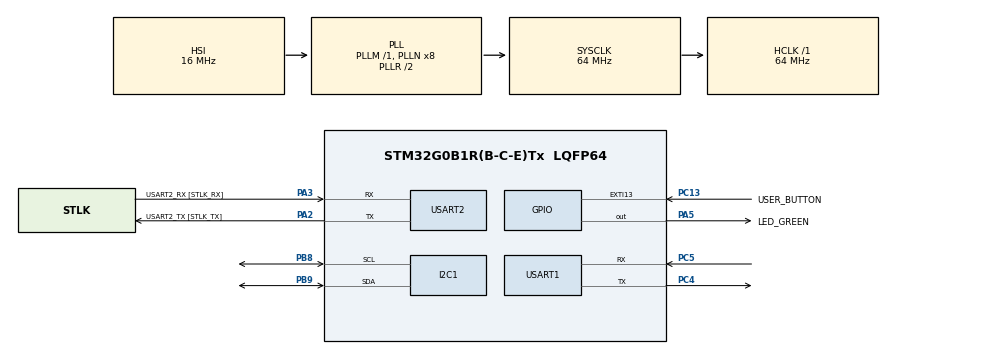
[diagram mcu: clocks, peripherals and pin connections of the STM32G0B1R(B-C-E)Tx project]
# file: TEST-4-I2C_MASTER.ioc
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Dma.Request0=USART1_RX
Dma.Request1=USART2_RX
Dma.USART1_RX.0.Direction=DMA_PERIPH_TO_MEMORY
Dma.USART1_RX.0.EventEnable=DISABLE
Dma.USART1_RX.0.Instance=DMA1_Channel1
Dma.USART1_RX.0.MemDataAlignment=DMA_MDATAALIGN_BYTE
Dma.USART1_RX.0.MemInc=DMA_MINC_ENABLE
Dma.USART1_RX.0.Mode=DMA_CIRCULAR
Dma.USART1_RX.0.PeriphDataAlignment=DMA_PDATAALIGN_BYTE
Dma.USART1_RX.0.PeriphInc=DMA_PINC_DISABLE
Dma.USART1_RX.0.Polarity=HAL_DMAMUX_REQ_GEN_RISING
Dma.USART1_RX.0.Priority=DMA_PRIORITY_LOW
Dma.USART1_RX.0.RequestNumber=1
Dma.USART1_RX.0.SignalID=NONE
Dma.USART1_RX.0.SyncEnable=DISABLE
Dma.USART1_RX.0.SyncPolarity=HAL_DMAMUX_SYNC_NO_EVENT
Dma.USART1_RX.0.SyncRequestNumber=1
Dma.USART1_RX.0.SyncSignalID=NONE
Dma.USART2_RX.1.Direction=DMA_PERIPH_TO_MEMORY
Dma.USART2_RX.1.EventEnable=DISABLE
Dma.USART2_RX.1.Instance=DMA1_Channel2
Dma.USART2_RX.1.MemDataAlignment=DMA_MDATAALIGN_BYTE
Dma.USART2_RX.1.MemInc=DMA_MINC_ENABLE
Dma.USART2_RX.1.Mode=DMA_CIRCULAR
Dma.USART2_RX.1.PeriphDataAlignment=DMA_PDATAALIGN_BYTE
Dma.USART2_RX.1.PeriphInc=DMA_PINC_DISABLE
Dma.USART2_RX.1.Polarity=HAL_DMAMUX_REQ_GEN_RISING
Dma.USART2_RX.1.Priority=DMA_PRIORITY_LOW
Dma.USART2_RX.1.RequestNumber=1
Dma.USART2_RX.1.SignalID=NONE
Dma.USART2_RX.1.SyncEnable=DISABLE
Dma.USART2_RX.1.SyncPolarity=HAL_DMAMUX_SYNC_NO_EVENT
Dma.USART2_RX.1.SyncRequestNumber=1
Dma.USART2_RX.1.SyncSignalID=NONE
I2C1.Timing=0x10B17DB5
Mcu.Family=STM32G0
Mcu.Name=STM32G0B1R(B-C-E)Tx
Mcu.Package=LQFP64
NVIC.DMA1_Channel1_IRQn=true\:0\:0\:false\:false\:true\:false\:true\:true
NVIC.DMA1_Channel2_3_IRQn=true\:0\:0\:false\:false\:true\:false\:true\:true
NVIC.USART1_IRQn=true\:0\:0\:false\:false\:true\:true\:true\:true
NVIC.USART2_LPUART2_IRQn=true\:0\:0\:false\:false\:true\:true\:true\:true
PA13.GPIO_Label=TMS
PA13.Mode=Serial_Wire
PA13.Signal=SYS_SWDIO
PA14-BOOT0.GPIO_Label=TCK
PA14-BOOT0.Mode=Serial_Wire
PA14-BOOT0.Signal=SYS_SWCLK
PA2.GPIO_Label=USART2_TX [STLK_TX]
PA2.Mode=Asynchronous
PA2.Signal=USART2_TX
PA3.GPIO_Label=USART2_RX [STLK_RX]
PA3.Mode=Asynchronous
PA3.Signal=USART2_RX
PA5.GPIO_Label=LED_GREEN
PA5.GPIO_Speed=GPIO_SPEED_FREQ_HIGH
PA5.Signal=GPIO_Output
PB8.Mode=I2C
PB8.Signal=I2C1_SCL
PB9.Mode=I2C
PB9.Signal=I2C1_SDA
PC13.GPIO_Label=USER_BUTTON
PC13.Signal=GPXTI13
PC14-OSC32_IN\ (PC14).Mode=LSE-External-Oscillator
PC14-OSC32_IN\ (PC14).Signal=RCC_OSC32_IN
PC15-OSC32_OUT\ (PC15).Mode=LSE-External-Oscillator
PC15-OSC32_OUT\ (PC15).Signal=RCC_OSC32_OUT
PC4.Mode=Asynchronous
PC4.Signal=USART1_TX
PC5.Mode=Asynchronous
PC5.Signal=USART1_RX
PF0-OSC_IN\ (PF0).GPIO_Label=MCO
PF0-OSC_IN\ (PF0).Mode=HSE-External-Clock-Source
PF0-OSC_IN\ (PF0).Signal=RCC_OSC_IN
ProjectManager.HeapSize=0x200
ProjectManager.StackSize=0x400
ProjectManager.TargetToolchain=STM32CubeIDE
RCC.ADCFreq_Value=64000000
RCC.AHBFreq_Value=64000000
RCC.CortexFreq_Value=64000000
RCC.EXTERNAL_CLOCK_VALUE=12288000
RCC.HCLKFreq_Value=64000000
RCC.HSE_VALUE=8000000
RCC.HSI48_VALUE=48000000
RCC.HSI_VALUE=16000000
RCC.SYSCLKFreq_VALUE=64000000
RCC.SYSCLKSource=RCC_SYSCLKSOURCE_PLLCLK
RCC.USBFreq_Value=48000000
RCC.VCOOutputFreq_Value=128000000
USART1.VirtualMode-Asynchronous=VM_ASYNC
USART2.VirtualMode-Asynchronous=VM_ASYNC
VP_SYS_VS_DBSignals.Mode=DisableDeadBatterySignals
board=NUCLEO-G0B1RE

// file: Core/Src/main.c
/* USER CODE BEGIN Header */
/**
  ******************************************************************************
  * @file           : main.c
  * @brief          : Main program body
  ******************************************************************************
  * @attention
  *
  * Copyright (c) 2025 STMicroelectronics.
  * All rights reserved.
  *
  * This software is licensed under terms that can be found in the LICENSE file
  * in the root directory of this software component.
  * If no LICENSE file comes with this software, it is provided AS-IS.
  *
  ******************************************************************************
  */
/* USER CODE END Header */
#include "main.h"
#include "dma.h"
#include "i2c.h"
#include "usart.h"
#include "gpio.h"

/* USER CODE BEGIN PV */
uint8_t uart1_tx1_buff[]="hello world\n";
uint8_t uart1_rx1_buff[4]={0};
uint8_t uart2_tx2_buff[]="hello world\n";
uint8_t uart2_rx2_buff[4]={0};
uint8_t i2c1_tx1_buff[4]={0x01,0x02,0x03,0x04};
uint8_t i2c1_rx1_buff[4]={0};
/* USER CODE END PV */

void SystemClock_Config(void);

/* USER CODE BEGIN 0 */
void HAL_UART_RxCpltCallback(UART_HandleTypeDef *huart)
{
	if(huart->Instance==USART1)
	{
		//answer to host
		HAL_UART_Transmit_IT(&huart1,uart1_tx1_buff,sizeof(uart1_tx1_buff));
	}

	if(huart->Instance==USART2)
	{
		//answer to host
		HAL_UART_Transmit_IT(&huart2,uart2_tx2_buff,sizeof(uart2_tx2_buff));
	}
}
/* USER CODE END 0 */

int main(void)
{

  /* MCU Configuration--------------------------------------------------------*/

  /* Reset of all peripherals, Initializes the Flash interface and the Systick. */
  HAL_Init();

  /* Configure the system clock */
  SystemClock_Config();

  /* Initialize all configured peripherals */
  MX_GPIO_Init();
  MX_DMA_Init();
  MX_USART2_UART_Init();
  MX_USART1_UART_Init();
  MX_I2C1_Init();
  /* USER CODE BEGIN 2 */
  HAL_UART_Receive_DMA(&huart1,uart1_rx1_buff,sizeof(uart1_rx1_buff));//receive int enable
  HAL_UART_Receive_DMA(&huart2,uart2_rx2_buff,sizeof(uart2_rx2_buff));//receive int enable

  /* USER CODE END 2 */

  /* Infinite loop */
  while (1)
  {

    /* USER CODE BEGIN 3 */
	  HAL_I2C_Master_Transmit(&hi2c1,0xA0,i2c1_tx1_buff,sizeof(i2c1_tx1_buff),1000);
	  HAL_GPIO_TogglePin(LED_GREEN_GPIO_Port,LED_GREEN_Pin);//LED-Green flash
	  HAL_Delay(1000);//delay 1000 ms
  }
  /* USER CODE END 3 */
}

void SystemClock_Config(void)
{
  RCC_OscInitTypeDef RCC_OscInitStruct = {0};
  RCC_ClkInitTypeDef RCC_ClkInitStruct = {0};

  /** Configure the main internal regulator output voltage
  */
  HAL_PWREx_ControlVoltageScaling(PWR_REGULATOR_VOLTAGE_SCALE1);

  /** Initializes the RCC Oscillators according to the specified parameters
  * in the RCC_OscInitTypeDef structure.
  */
  RCC_OscInitStruct.OscillatorType = RCC_OSCILLATORTYPE_HSI;
  RCC_OscInitStruct.HSIState = RCC_HSI_ON;
  RCC_OscInitStruct.HSIDiv = RCC_HSI_DIV1;
  RCC_OscInitStruct.HSICalibrationValue = RCC_HSICALIBRATION_DEFAULT;
  RCC_OscInitStruct.PLL.PLLState = RCC_PLL_ON;
  RCC_OscInitStruct.PLL.PLLSource = RCC_PLLSOURCE_HSI;
  RCC_OscInitStruct.PLL.PLLM = RCC_PLLM_DIV1;
  RCC_OscInitStruct.PLL.PLLN = 8;
  RCC_OscInitStruct.PLL.PLLP = RCC_PLLP_DIV2;
  RCC_OscInitStruct.PLL.PLLQ = RCC_PLLQ_DIV2;
  RCC_OscInitStruct.PLL.PLLR = RCC_PLLR_DIV2;
  if (HAL_RCC_OscConfig(&RCC_OscInitStruct) != HAL_OK)
  {
    Error_Handler();
  }

  /** Initializes the CPU, AHB and APB buses clocks
  */
  RCC_ClkInitStruct.ClockType = RCC_CLOCKTYPE_HCLK|RCC_CLOCKTYPE_SYSCLK
                              |RCC_CLOCKTYPE_PCLK1;
  RCC_ClkInitStruct.SYSCLKSource = RCC_SYSCLKSOURCE_PLLCLK;
  RCC_ClkInitStruct.AHBCLKDivider = RCC_SYSCLK_DIV1;
  RCC_ClkInitStruct.APB1CLKDivider = RCC_HCLK_DIV1;

  if (HAL_RCC_ClockConfig(&RCC_ClkInitStruct, FLASH_LATENCY_2) != HAL_OK)
  {
    Error_Handler();
  }
}

void Error_Handler(void)
{
  __disable_irq();
  while (1)
  {
  }
}
